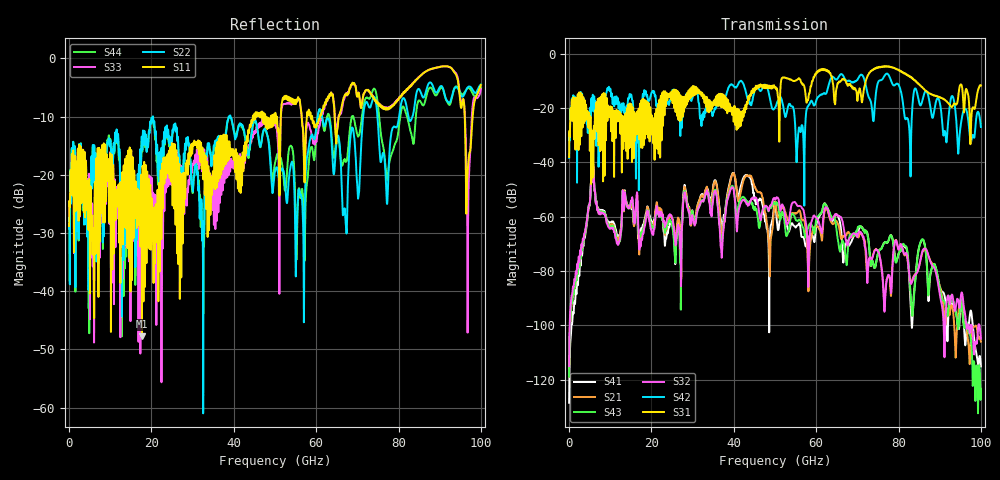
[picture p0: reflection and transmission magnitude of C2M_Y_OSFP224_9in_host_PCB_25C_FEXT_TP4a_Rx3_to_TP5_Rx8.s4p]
# GHz S RI R 45
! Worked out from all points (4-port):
!   4000 points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, 25 MHz to 100 GHz, reference 45 ohm
!   strongest paths, dB at 25 MHz, 25.02 GHz, 50.02 GHz, 75.03 GHz, 100 GHz:
!     S31: -38.0, -14.1, -12.4, -5.0, -11.6
!     S42: -38.3, -13.9, -19.8, -10.6, -26.9
!     S32: -114.9, -60.7, -53.6, -72.7, -104.8
!     S43: -118.8, -63.3, -55.5, -73.6, -123.3
!     S21: -119.0, -60.5, -54.3, -72.7, -105.9
!     S41: -128.4, -62.8, -54.6, -73.6, -115.0
!   lowest |S11| = -47.8 dB at 17.7 GHz (marker M1), VSWR 1.01, Z = 45.1 + j0.352 ohm
!   |S11| at or under -10 dB: start of sweep to 44.62 GHz; 59.03 GHz to 60.93 GHz (1.901 GHz wide, 3.17 % of centre); 96.08 GHz to 98 GHz (1.927 GHz wide, 1.99 % of centre)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
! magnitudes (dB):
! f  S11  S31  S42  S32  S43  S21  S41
! 25 MHz  -28.8  -38.0  -38.3  -114.9  -118.8  -119.0  -128.4
! 5.725 GHz  -33.7  -32.5  -15.8  -44.0  -43.9  -44.0  -43.9
! 17.7 GHz  -47.8  -21.7  -19.1  -68.5  -66.0  -66.8  -64.4
! 43.67 GHz  -12.8  -16.5  -17.4  -55.6  -54.9  -45.0  -45.3
! 48.75 GHz  -10.7  -11.9  -16.2  -56.2  -56.6  -81.9  -70.2
! 96.92 GHz  -18.4  -15.3  -24.4  -99.6  -102.0  -105.7  -99.8
! 100 GHz  -4.6  -11.6  -26.9  -104.8  -123.3  -105.9  -115.0
